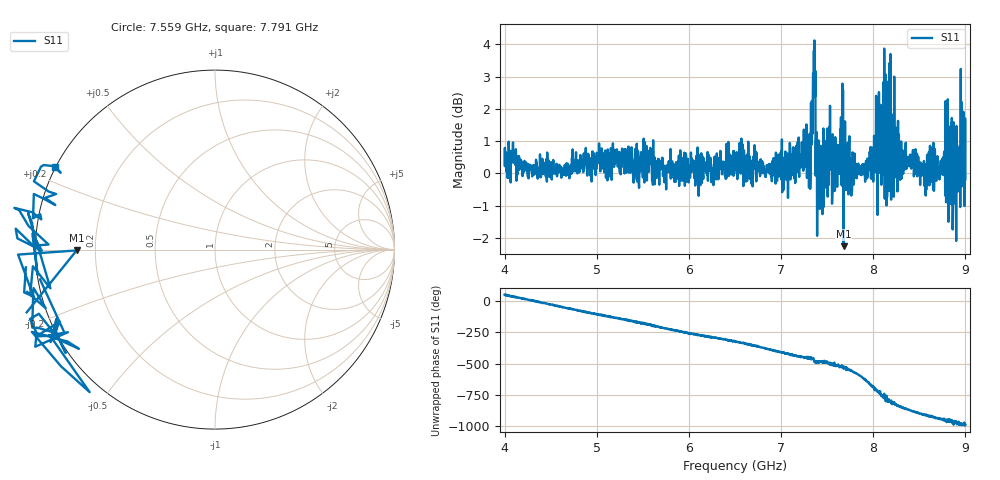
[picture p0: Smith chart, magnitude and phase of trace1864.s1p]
! Created with skrf 1.8.0 (http://scikit-rf.org).
# Hz S RI R 50.0
!freq ReS11 ImS11
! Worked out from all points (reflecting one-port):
!   1601 points, 4 GHz to 9 GHz, reference 50 ohm
!   lowest |S11| = -2.3 dB at 7.678 GHz (marker M1), VSWR 7.74, Z = 6.46 - j0.149 ohm
!   phase of S11 starts at 53 deg and turns -1041 deg over the sweep
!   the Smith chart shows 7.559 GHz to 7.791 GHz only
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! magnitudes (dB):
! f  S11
! 4 GHz  0.3
! 4.625 GHz  0.0
! 5.25 GHz  0.0
! 5.875 GHz  0.3
! 6.5 GHz  0.4
! 7.125 GHz  0.0
! 7.294 GHz  0.1
! 7.316 GHz  -0.5
! 7.347 GHz  3.1
! 7.372 GHz  3.2
! 7.4 GHz  -0.3
! 7.416 GHz  -1.0
! 7.525 GHz  1.4
! 7.578 GHz  0.5
! 7.638 GHz  0.0
! 7.65 GHz  1.7
! 7.678 GHz  -2.3
! 7.75 GHz  -0.1
! 8 GHz  -0.3
! 8.162 GHz  1.9
! 8.216 GHz  0.7
! 8.375 GHz  0.3
! 8.556 GHz  -0.4
! 8.728 GHz  0.1
! 8.822 GHz  1.2
! 8.875 GHz  1.2
! 8.972 GHz  0.6
! 9 GHz  -0.2
